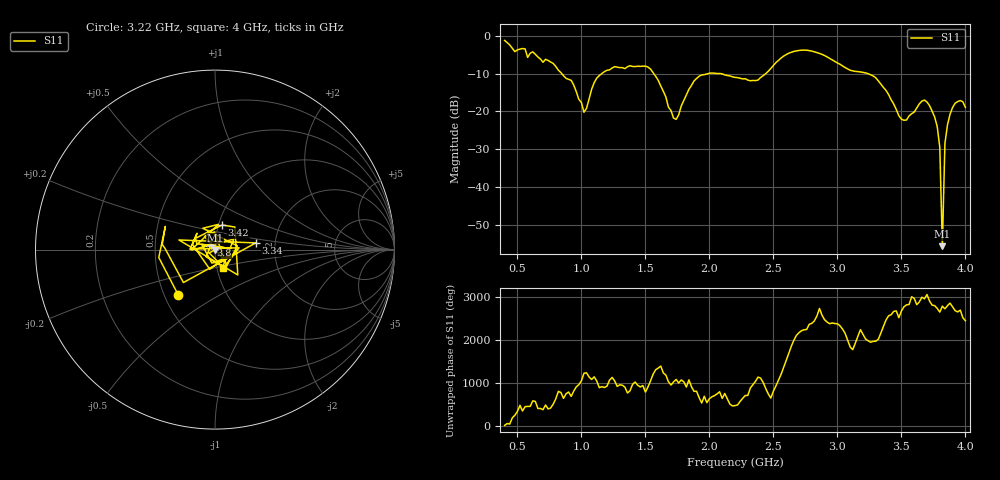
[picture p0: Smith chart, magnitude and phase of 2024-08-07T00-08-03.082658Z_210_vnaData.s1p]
!Created with skrf (http://scikit-rf.org).
# Hz S RI R 50.0
!freq ReS11 ImS11
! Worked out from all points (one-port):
!   181 points, 400 MHz to 4 GHz, reference 50 ohm
!   lowest |S11| = -55.6 dB at 3.82 GHz (marker M1), VSWR 1.00, Z = 50 - j0.165 ohm
!   |S11| at or under -10 dB: 1.566 GHz to 1.988 GHz (422.4 MHz wide, 23.8 % of centre); 2.093 GHz to 2.44 GHz (346.8 MHz wide, 15.3 % of centre); 3.24 GHz to end of sweep (the widest 3 of 4)
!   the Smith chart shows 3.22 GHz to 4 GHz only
!   S11 on the Smith chart (normalised r, x): 3.22 GHz: 0.59, -0.33; 3.34 GHz: 1.58, +0.12; 3.42 GHz: 1.04, +0.29; 3.8 GHz: 0.95, +0.05; 4 GHz: 1.08, -0.22
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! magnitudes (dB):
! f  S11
! 400 MHz  -1.2
! 860 MHz  -10.5
! 920 MHz  -11.8
! 1.02 GHz  -20.2
! 1.12 GHz  -11.2
! 1.3 GHz  -8.4
! 1.52 GHz  -8.2
! 1.6 GHz  -11.7
! 1.72 GHz  -21.7
! 1.76 GHz  -20.9
! 1.92 GHz  -10.7
! 2.2 GHz  -11.0
! 2.38 GHz  -11.7
! 2.66 GHz  -4.1
! 3.1 GHz  -9.1
! 3.22 GHz  -9.8
! 3.34 GHz  -12.8
! 3.42 GHz  -16.9
! 3.5 GHz  -22.0
! 3.56 GHz  -21.2
! 3.7 GHz  -17.5
! 3.76 GHz  -21.5
! 3.8 GHz  -29.5
! 3.82 GHz  -55.6
! 3.84 GHz  -28.5
! 3.86 GHz  -23.6
! 3.92 GHz  -17.8
! 4 GHz  -18.9
